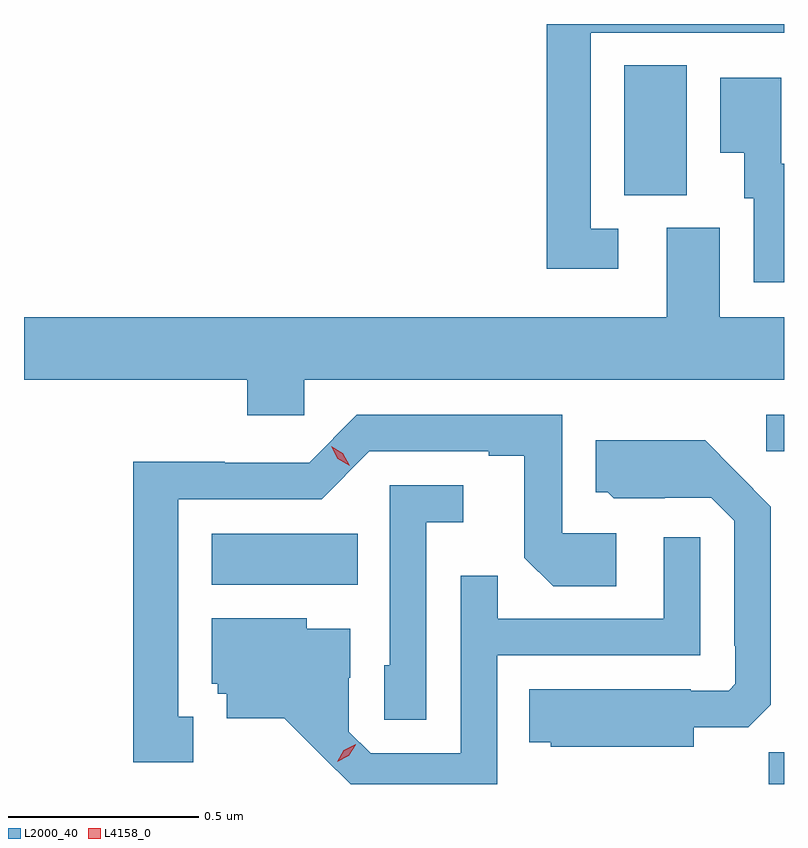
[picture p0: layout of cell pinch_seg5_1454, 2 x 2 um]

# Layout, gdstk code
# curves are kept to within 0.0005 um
import gdstk
lib = gdstk.Library(unit=1e-6, precision=1e-09)
def R(c, l, rs):  # rectangles x0, y0, x1, y1
    for r in rs: c.add(gdstk.rectangle(r[:2], r[2:], *l))
def P(c, l, *ps):  # polygons
    for p in ps: c.add(gdstk.Polygon(p, *l))
L2000_40 = (2000, 40)
L4158_0 = (4158, 0)

pinch_seg5_1454 = lib.new_cell('pinch_seg5_1454')
R(pinch_seg5_1454, L2000_40, [(162.148,906.312,162.188,906.395), (160.682,906.836,161.066,906.97), (162.141,907.188,162.188,907.284), (161.768,907.861,161.932,908.204)])
P(pinch_seg5_1454, L2000_40, [(161.752,907.773),(161.679,907.773),(161.679,908.289),(162.188,908.289),(162.188,908.312),(161.563,908.312),(161.563,907.668),(161.752,907.668)],
  [(162.188,907.944),(162.181,907.944),(162.181,908.17),(162.02,908.17),(162.02,907.973),(162.083,907.973),(162.083,907.854),(162.108,907.854),(162.108,907.632),(162.188,907.632)],
  [(160.926,907.376),(162.188,907.376),(162.188,907.54),(162.019,907.54),(162.019,907.776),(161.879,907.776),(161.879,907.54),(160.188,907.54),(160.188,907.376),(160.775,907.376),(160.775,907.283),(160.926,907.283)],
  [(160.633,906.489),(160.594,906.489),(160.594,907.062),(160.971,907.062),(161.097,907.188),(161.411,907.188),(161.411,907.176),(161.505,907.176),(161.505,906.908),(161.581,906.832),(161.746,906.832),(161.746,906.972),(161.604,906.972),(161.604,907.284),(161.064,907.284),(160.938,907.158),(160.716,907.158),(160.716,907.16),(160.476,907.16),(160.476,906.369),(160.633,906.369)],
  [(161.95,906.461),(162.094,906.461),(162.153,906.52),(162.153,907.042),(161.981,907.216),(161.693,907.216),(161.693,907.08),(161.724,907.08),(161.74,907.064),(161.874,907.064),(161.874,907.065),(161.997,907.065),(162.057,907.005),(162.057,906.676),(162.06,906.676),(162.06,906.576),(162.042,906.558),(161.942,906.558),(161.942,906.562),(161.518,906.562),(161.518,906.422),(161.574,906.422),(161.574,906.41),(161.95,906.41)],
  [(161.247,907.001),(161.344,907.001),(161.344,907.098),(161.151,907.098),(161.151,906.624),(161.136,906.624),(161.136,906.481),(161.247,906.481)],
  [(161.433,906.651),(161.967,906.651),(161.967,906.961),(161.871,906.961),(161.871,906.747),(161.435,906.747),(161.435,906.86),(161.337,906.86),(161.337,906.393),(161.1,906.393),(161.043,906.45),(161.043,906.592),(161.047,906.592),(161.047,906.721),(160.932,906.721),(160.932,906.748),(160.682,906.748),(160.682,906.576),(160.698,906.576),(160.698,906.549),(160.721,906.549),(160.721,906.485),(160.873,906.485),(161.048,906.312),(161.433,906.312)])
P(pinch_seg5_1454, L4158_0, [(161.012,906.371),(161.012,906.371),(161.03,906.401),(161.061,906.416),(161.061,906.416),(161.061,906.415),(161.043,906.386),(161.012,906.371)],
  [(161.045,907.149),(161.013,907.168),(160.996,907.201),(160.996,907.201),(160.996,907.201),(161.027,907.182),(161.045,907.149),(161.045,907.149)])

lib.write_gds('pinch_seg5_1454.gds')
